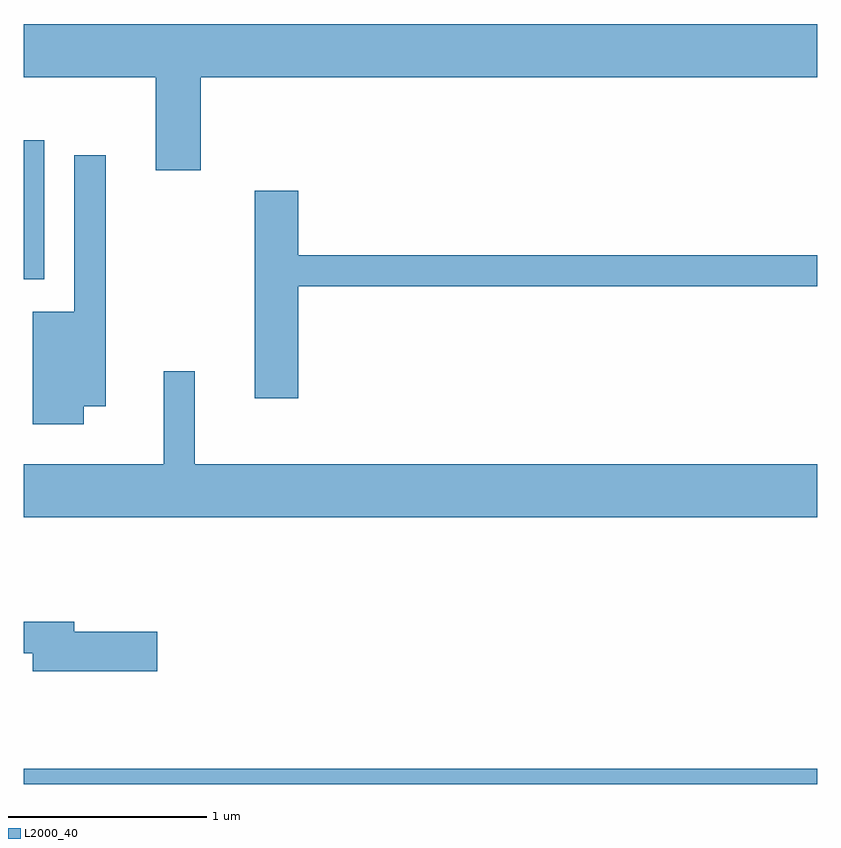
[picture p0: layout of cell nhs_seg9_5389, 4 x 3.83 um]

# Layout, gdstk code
import gdstk
lib = gdstk.Library(unit=1e-6, precision=1e-09)
def R(c, l, rs):  # rectangles x0, y0, x1, y1
    for r in rs: c.add(gdstk.rectangle(r[:2], r[2:], *l))
def P(c, l, *ps):  # polygons
    for p in ps: c.add(gdstk.Polygon(p, *l))
L2000_40 = (2000, 40)

nhs_seg9_5389 = lib.new_cell('nhs_seg9_5389')
R(nhs_seg9_5389, L2000_40, [(343.611,2030.432,347.611,2030.509), (343.611,2032.978,343.714,2033.679)])
P(nhs_seg9_5389, L2000_40, [(344.504,2033.996),(347.611,2033.996),(347.611,2034.264),(343.611,2034.264),(343.611,2033.996),(344.276,2033.996),(344.276,2033.526),(344.504,2033.526)],
  [(343.914,2032.336),(344.024,2032.336),(344.024,2033.603),(343.866,2033.603),(343.866,2032.814),(343.656,2032.814),(343.656,2032.246),(343.914,2032.246)],
  [(344.994,2032.941),(347.611,2032.941),(347.611,2033.099),(344.994,2033.099),(344.994,2033.424),(344.776,2033.424),(344.776,2032.376),(344.994,2032.376)],
  [(347.611,2032.044),(344.474,2032.044),(344.474,2032.513),(344.316,2032.513),(344.316,2032.044),(343.611,2032.044),(343.611,2031.776),(347.611,2031.776)],
  [(344.284,2031.199),(343.864,2031.199),(343.864,2031.249),(343.611,2031.249),(343.611,2031.091),(343.656,2031.091),(343.656,2031.001),(344.284,2031.001)])

lib.write_gds('nhs_seg9_5389.gds')
